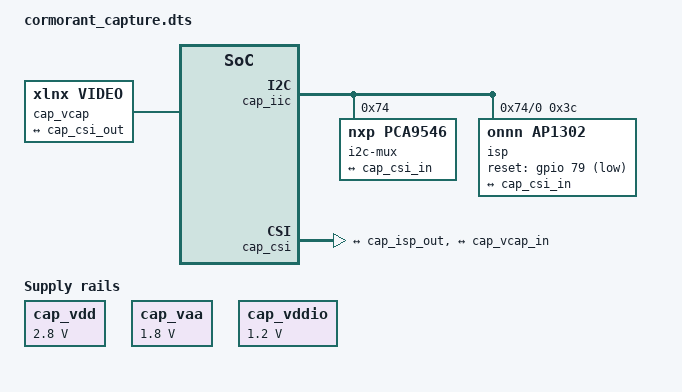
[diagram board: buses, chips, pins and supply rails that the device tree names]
// Copyright 2026 Ivan Gubochkin
// SPDX-License-Identifier: Apache-2.0

/*
 * The overlay of a bitstream with the camera capture path
 * (hw/cormorant_hw_128/scripts/bd_mipi_capture.tcl): the five kernels of
 * cormorant.dts, and the AR1335 sensor behind the carrier card's AP1302 ISP
 * as a V4L2 media pipeline — AP1302 -> MIPI CSI-2 receiver -> frame buffer
 * writer (NV12) -> /dev/videoN.  The nodes are those of AMD's kv260-smartcam
 * overlay (/lib/firmware/xilinx/kv260-smartcam/kv260-smartcam.dtbo), the frame
 * buffer at 0x80010000 instead of 0xb0010000.  Never apply it over a bitstream
 * without the capture path: the kernel would access an unmapped LPD port.
 * The board kernel binds the receiver as 5.0 and the frame buffer as v2.1
 * (the IPs are 6.0 and 3.0).
 */

/include/ "cormorant.dts"

/ {
	fragment@8 {
		target = <&amba>;
		overlay8: __overlay__ {
			/* the capture path's clocks: PL0 (100 MHz) and the MMCM's 200 MHz */
			cap_clk_100: cap_clk_100 {
				#clock-cells = <0x00>;
				compatible = "fixed-factor-clock";
				clocks = <&zynqmp_clk 71>;
				clock-div = <1>;
				clock-mult = <1>;
			};

			cap_clk_200: cap_clk_200 {
				#clock-cells = <0x00>;
				compatible = "fixed-factor-clock";
				clocks = <&zynqmp_clk 71>;
				clock-div = <1>;
				clock-mult = <2>;
			};

			cap_vdd: cap_vdd {
				compatible = "regulator-fixed";
				regulator-name = "ap1302_vdd";
				regulator-min-microvolt = <2800000>;
				regulator-max-microvolt = <2800000>;
				enable-active-high;
			};

			cap_vaa: cap_vaa {
				compatible = "regulator-fixed";
				regulator-name = "ap1302_vaa";
				regulator-min-microvolt = <1800000>;
				regulator-max-microvolt = <1800000>;
			};

			cap_vddio: cap_vddio {
				compatible = "regulator-fixed";
				regulator-name = "ap1302_vddio";
				regulator-min-microvolt = <1200000>;
				regulator-max-microvolt = <1200000>;
			};

			/* cap_iic, pl_ps_irq1[3] = SPI 107: the PCA9546 switch, the ISP on channel 0 */
			cap_iic: i2c@80030000 {
				#address-cells = <1>;
				#size-cells = <0>;
				compatible = "xlnx,axi-iic-2.0", "xlnx,xps-iic-2.00.a";
				reg = <0x00 0x80030000 0x00 0x10000>;
				clocks = <&cap_clk_100>;
				clock-names = "s_axi_aclk";
				interrupt-parent = <&gic>;
				interrupts = <0x00 0x6b 0x04>;
				interrupt-names = "iic2intc_irpt";

				i2c-mux@74 {
					compatible = "nxp,pca9546";
					reg = <0x74>;
					#address-cells = <1>;
					#size-cells = <0>;

					i2c@0 {
						reg = <0>;
						#address-cells = <1>;
						#size-cells = <0>;

						isp@3c {
							compatible = "onnn,ap1302";
							reg = <0x3c>;
							#address-cells = <1>;
							#size-cells = <0>;
							reset-gpios = <&gpio 79 1>;	/* EMIO 1, active low */
							clocks = <&si5332_2>;

							sensors {
								#address-cells = <1>;
								#size-cells = <0>;
								onnn,model = "onnn,ar1335";

								sensor@0 {
									reg = <0>;
									vdd-supply = <&cap_vdd>;
									vaa-supply = <&cap_vaa>;
									vddio-supply = <&cap_vddio>;
								};
							};

							ports {
								#address-cells = <1>;
								#size-cells = <0>;

								port@2 {
									reg = <2>;
									cap_isp_out: endpoint {
										remote-endpoint = <&cap_csi_in>;
										data-lanes = <1 2 3 4>;
									};
								};
							};
						};
					};
				};
			};

			/* cap_csi, pl_ps_irq1[0] = SPI 104: 4 lanes, YUV 4:2:0 8-bit (0x18), 2 pixels per clock */
			cap_csi: csiss@80000000 {
				compatible = "xlnx,mipi-csi2-rx-subsystem-5.0";
				reg = <0x00 0x80000000 0x00 0x2000>;
				clock-names = "lite_aclk", "dphy_clk_200M", "video_aclk";
				clocks = <&cap_clk_100>, <&cap_clk_200>, <&cap_clk_200>;
				interrupt-parent = <&gic>;
				interrupts = <0x00 0x68 0x04>;
				xlnx,csi-pxl-format = <0x18>;
				xlnx,axis-tdata-width = <32>;
				xlnx,max-lanes = <4>;
				xlnx,en-active-lanes;
				xlnx,ppc = <2>;
				xlnx,vfb;

				ports {
					#address-cells = <1>;
					#size-cells = <0>;

					port@0 {
						reg = <0>;
						cap_csi_in: endpoint {
							data-lanes = <1 2 3 4>;
							remote-endpoint = <&cap_isp_out>;
						};
					};

					port@1 {
						reg = <1>;
						cap_csi_out: endpoint {
							remote-endpoint = <&cap_vcap_in>;
						};
					};
				};
			};

			/* cap_fb, pl_ps_irq1[1] = SPI 105: NV12 into DDR through HP3; ap_rst_n on EMIO 0 */
			cap_fb: fb_wr@80010000 {
				compatible = "xlnx,axi-frmbuf-wr-v2.1";
				reg = <0x00 0x80010000 0x00 0x10000>;
				#dma-cells = <1>;
				interrupt-parent = <&gic>;
				interrupts = <0x00 0x69 0x04>;
				xlnx,vid-formats = "nv12";
				reset-gpios = <&gpio 78 1>;
				xlnx,dma-addr-width = <32>;
				xlnx,pixels-per-clock = <2>;
				xlnx,max-width = <1920>;
				xlnx,max-height = <1080>;
				clocks = <&cap_clk_200>;
				clock-names = "ap_clk";
			};

			cap_vcap: cap_vcap {
				compatible = "xlnx,video";
				dmas = <&cap_fb 0>;
				dma-names = "port0";

				ports {
					#address-cells = <1>;
					#size-cells = <0>;

					port@0 {
						reg = <0>;
						direction = "input";
						cap_vcap_in: endpoint {
							remote-endpoint = <&cap_csi_out>;
						};
					};
				};
			};
		};
	};
};
